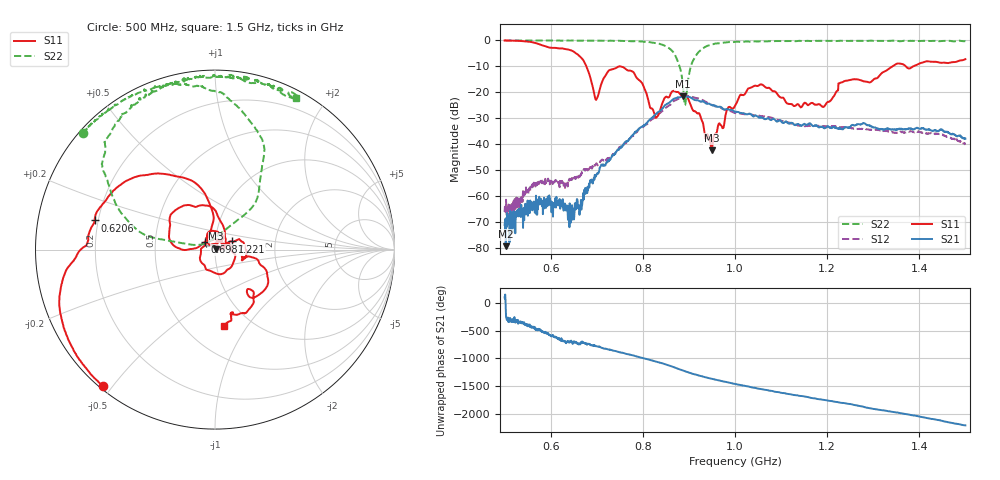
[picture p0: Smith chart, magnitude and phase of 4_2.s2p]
!Agilent Technologies,E8364B,US42250235,A.06.04.32
!Agilent E8364B: A.06.04.32
!Date: Friday, January 15, 2021 14:45:11
!Correction: S11(Full 2 Port(1,2)) S21(Full 2 Port(1,2)) S12(Full 2 Port(1,2)) S22(Full 2 Port(1,2))
!S2P File: Measurements: S11, S21, S12, S22:
# Hz S  dB  R 50
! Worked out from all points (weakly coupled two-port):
!   1601 points, 500 MHz to 1.5 GHz, reference 50 ohm
!   highest |S21| = -21.59 dB at 886.2 MHz (marker M1); lowest = -79.1 dB at 502.5 MHz (marker M2)
!   lowest |S11| = -42.4 dB at 949.4 MHz (marker M3), VSWR 1.02, Z = 50.6 + j0.444 ohm
!   |S11| at or under -10 dB: 677.3 MHz to 1.342 GHz (665.1 MHz wide, 65.9 % of centre); 1.37 GHz to 1.387 GHz (17.3 MHz wide, 1.25 % of centre)
!   |S22| runs from -25.0 to -0.1 dB; largest |S21 - S12| = 0.018
!   S11 on the Smith chart (normalised r, x): 500 MHz: 0.01, -0.47; 620.6 MHz: 0.19, +0.12; 698.8 MHz: 0.89, +0.08; 1.221 GHz: 1.20, +0.11; 1.5 GHz: 0.75, -0.79
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5e8  -0.14 -129.5  -70.95 104.1  -66.00 -10.4  -0.15 138.4
5.025e8  -0.15 -130.7  -79.14 -105.0  -64.83 3.9  -0.14 138.3
5.65e8  -1.02 -165.5  -62.55 -108.1  -55.12 -126.6  -0.16 132.8
6.20625e8  -3.22 166.4  -64.75 62.3  -54.86 113.6  -0.20 127.5
6.425e8  -3.85 146.5  -63.85 26.8  -54.24 82.6  -0.18 124.5
6.66875e8  -6.89 116.3  -65.07 13.9  -50.99 33.5  -0.20 121.6
6.9875e8  -22.96 142.2  -51.97 -57.3  -47.56 -56.8  -0.20 118.2
7.24375e8  -12.06 170.4  -46.61 -116.5  -45.36 -127.6  -0.28 114.2
7.5375e8  -10.23 132.0  -41.22 -174.5  -40.74 162.3  -0.30 110.4
7.9625e8  -16.06 78.0  -33.40 93.3  -33.88 72.3  -0.54 101.0
8.3375e8  -28.76 134.7  -27.66 10.4  -28.39 -7.7  -1.29 86.3
8.68125e8  -19.51 97.3  -22.51 -80.7  -23.28 -90.0  -5.20 61.2
8.8625e8  -21.36 71.5  -21.59 -134.8  -21.81 -141.5  -16.21 57.7
8.925e8  -21.09 53.2  -21.72 -153.5  -21.66 -160.4  -24.28 141.7
9.10625e8  -27.18 22.9  -22.87 156.9  -22.03 148.5  -7.35 166.9
9.49375e8  -42.37 35.2  -24.99 73.4  -24.87 60.0  -1.73 138.3
1e9  -25.30 35.7  -27.51 -20.1  -28.00 -27.0  -0.69 120.3
1.05625e9  -17.02 -74.5  -29.66 -111.3  -29.18 -118.5  -0.43 111.9
1.166875e9  -24.11 24.9  -32.64 83.9  -32.98 82.2  -0.34 97.3
1.22125e9  -19.54 25.4  -33.88 13.6  -33.13 2.6  -0.34 90.7
1.33375e9  -10.98 -19.4  -34.04 -153.0  -35.13 -158.3  -0.31 79.3
1.5e9  -7.32 -83.3  -37.84 -47.8  -40.06 -73.2  -0.38 62.0
